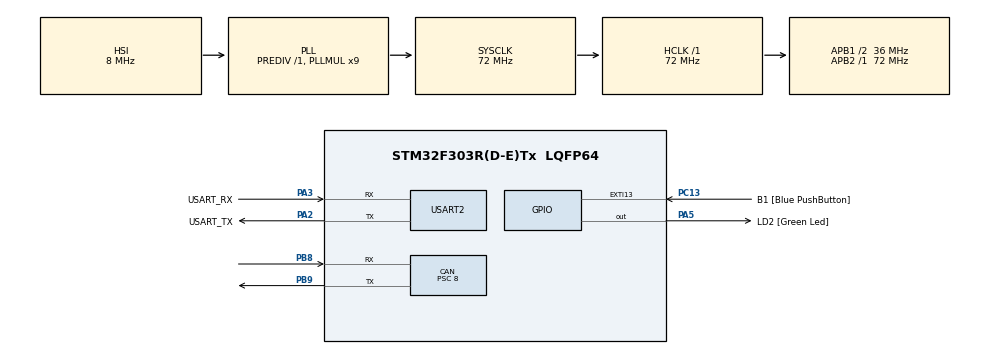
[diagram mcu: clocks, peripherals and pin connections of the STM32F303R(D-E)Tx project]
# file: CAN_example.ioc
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CAN.BS1=CAN_BS1_13TQ
CAN.BS2=CAN_BS2_4TQ
CAN.CalculateBaudRate=250000
CAN.CalculateTimeBit=4000
CAN.CalculateTimeQuantum=222.22222222222223
CAN.Mode=CAN_MODE_NORMAL
CAN.Prescaler=8
Mcu.Family=STM32F3
Mcu.Name=STM32F303R(D-E)Tx
Mcu.Package=LQFP64
NVIC.PriorityGroup=NVIC_PRIORITYGROUP_0
NVIC.USB_LP_CAN_RX0_IRQn=true\:0\:0\:false\:false\:true\:true\:true\:true
PA13.GPIO_Label=TMS
PA13.Mode=Serial_Wire
PA13.Signal=SYS_JTMS-SWDIO
PA14.GPIO_Label=TCK
PA14.Mode=Serial_Wire
PA14.Signal=SYS_JTCK-SWCLK
PA2.GPIO_Label=USART_TX
PA2.GPIO_Mode=GPIO_MODE_AF_PP
PA2.GPIO_PuPd=GPIO_NOPULL
PA2.GPIO_Speed=GPIO_SPEED_FREQ_LOW
PA2.Mode=Asynchronous
PA2.Signal=USART2_TX
PA3.GPIO_Label=USART_RX
PA3.GPIO_Mode=GPIO_MODE_AF_PP
PA3.GPIO_PuPd=GPIO_NOPULL
PA3.GPIO_Speed=GPIO_SPEED_FREQ_LOW
PA3.Mode=Asynchronous
PA3.Signal=USART2_RX
PA5.GPIO_Label=LD2 [Green Led]
PA5.GPIO_Mode=GPIO_MODE_OUTPUT_PP
PA5.GPIO_PuPd=GPIO_NOPULL
PA5.GPIO_Speed=GPIO_SPEED_FREQ_LOW
PA5.Signal=GPIO_Output
PB3.GPIO_Label=SWO
PB3.Signal=SYS_JTDO-TRACESWO
PB8.Mode=CAN_Activate
PB8.Signal=CAN_RX
PB9.Mode=CAN_Activate
PB9.Signal=CAN_TX
PC13.GPIO_Label=B1 [Blue PushButton]
PC13.GPIO_ModeDefaultEXTI=GPIO_MODE_IT_FALLING
PC13.Signal=GPXTI13
PC14-OSC32_IN.Mode=LSE-External-Oscillator
PC14-OSC32_IN.Signal=RCC_OSC32_IN
PC15-OSC32_OUT.Mode=LSE-External-Oscillator
PC15-OSC32_OUT.Signal=RCC_OSC32_OUT
PF0-OSC_IN.Mode=HSE-External-Clock-Source
PF0-OSC_IN.Signal=RCC_OSC_IN
PF1-OSC_OUT.Signal=RCC_OSC_OUT
ProjectManager.HeapSize=0x200
ProjectManager.StackSize=0x400
ProjectManager.TargetToolchain=STM32CubeIDE
RCC.AHBFreq_Value=72000000
RCC.APB1CLKDivider=RCC_HCLK_DIV2
RCC.APB1Freq_Value=36000000
RCC.APB1TimFreq_Value=72000000
RCC.APB2Freq_Value=72000000
RCC.APB2TimFreq_Value=72000000
RCC.CortexFreq_Value=72000000
RCC.HCLKFreq_Value=72000000
RCC.HSE_VALUE=8000000
RCC.HSI_VALUE=8000000
RCC.PLLM=8
RCC.PLLMUL=RCC_PLL_MUL9
RCC.PLLN=336
RCC.PLLP=RCC_PLLP_DIV4
RCC.PLLQ=7
RCC.RCC_PLLsource_Clock_Source_FROM_HSE=RCC_HSE_PREDIV_DIV2
RCC.SYSCLKFreq_VALUE=72000000
RCC.SYSCLKSourceVirtual=RCC_SYSCLKSOURCE_PLLCLK
RCC.USBFreq_Value=72000000
USART2.VirtualMode-Asynchronous=VM_ASYNC
board=NUCLEO-F303RE

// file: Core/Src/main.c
/* USER CODE BEGIN Header */
/**
  ******************************************************************************
  * @file           : main.c
  * @brief          : Main program body
  ******************************************************************************
  * @attention
  *
  * Copyright (c) 2026 STMicroelectronics.
  * All rights reserved.
  *
  * This software is licensed under terms that can be found in the LICENSE file
  * in the root directory of this software component.
  * If no LICENSE file comes with this software, it is provided AS-IS.
  *
  ******************************************************************************
  */
/* USER CODE END Header */
#include "main.h"

CAN_HandleTypeDef hcan;

UART_HandleTypeDef huart2;

void SystemClock_Config(void);
static void MX_GPIO_Init(void);
static void MX_USART2_UART_Init(void);
static void MX_CAN_Init(void);

/* USER CODE BEGIN 0 */
void CAN_Send(uint8_t *data)
{
    CAN_TxHeaderTypeDef txHeader = {0};

    uint32_t txMailbox;

    txHeader.StdId = 0x100;
    txHeader.ExtId = 0;
    txHeader.IDE = CAN_ID_STD;
    txHeader.RTR = CAN_RTR_DATA;
    txHeader.DLC = 8;
    txHeader.TransmitGlobalTime = DISABLE;

    HAL_CAN_AddTxMessage(
        &hcan,
        &txHeader,
        data,
        &txMailbox
    );
}

void HAL_CAN_RxFifo0MsgPendingCallback(CAN_HandleTypeDef *hcan)
{
    CAN_RxHeaderTypeDef rxHeader;
    uint8_t rxData[8];

    if (HAL_CAN_GetRxMessage(
        hcan,
        CAN_RX_FIFO0,
        &rxHeader,
        rxData
    ) == HAL_OK)
    {
        if (rxHeader.StdId == 0x200)
        {
            HAL_GPIO_TogglePin(LD2_GPIO_Port, LD2_Pin);
        }
    }
}
/* USER CODE END 0 */

int main(void)
{

  /* MCU Configuration--------------------------------------------------------*/

  /* Reset of all peripherals, Initializes the Flash interface and the Systick. */
  HAL_Init();

  /* Configure the system clock */
  SystemClock_Config();

  /* Initialize all configured peripherals */
  MX_GPIO_Init();
  MX_USART2_UART_Init();
  MX_CAN_Init();
  /* USER CODE BEGIN 2 */

  CAN_FilterTypeDef filter = {0};

  filter.FilterBank = 0;
  filter.FilterMode = CAN_FILTERMODE_IDMASK;
  filter.FilterScale = CAN_FILTERSCALE_32BIT;

  filter.FilterIdHigh = 0x0000;
  filter.FilterIdLow = 0x0000;

  filter.FilterMaskIdHigh = 0x0000;
  filter.FilterMaskIdLow = 0x0000;

  filter.FilterFIFOAssignment = CAN_FILTER_FIFO0;
  filter.FilterActivation = ENABLE;

  filter.SlaveStartFilterBank = 14;

  HAL_CAN_ConfigFilter(&hcan, &filter);

  HAL_CAN_Start(&hcan);

  HAL_CAN_ActivateNotification(
	  &hcan,
	  CAN_IT_RX_FIFO0_MSG_PENDING
  );
  /* USER CODE END 2 */

  /* Infinite loop */
  while (1)
  {

    /* USER CODE BEGIN 3 */
	  uint8_t txData[8] = {
	  		  1, 2, 3, 4, 5, 6, 7, 8
	  	  };

	  	  CAN_Send(txData);
	  	  HAL_Delay(10);
  }
  /* USER CODE END 3 */
}

void SystemClock_Config(void)
{
  RCC_OscInitTypeDef RCC_OscInitStruct = {0};
  RCC_ClkInitTypeDef RCC_ClkInitStruct = {0};
  RCC_PeriphCLKInitTypeDef PeriphClkInit = {0};

  /** Initializes the RCC Oscillators according to the specified parameters
  * in the RCC_OscInitTypeDef structure.
  */
  RCC_OscInitStruct.OscillatorType = RCC_OSCILLATORTYPE_HSI;
  RCC_OscInitStruct.HSIState = RCC_HSI_ON;
  RCC_OscInitStruct.HSICalibrationValue = RCC_HSICALIBRATION_DEFAULT;
  RCC_OscInitStruct.PLL.PLLState = RCC_PLL_ON;
  RCC_OscInitStruct.PLL.PLLSource = RCC_PLLSOURCE_HSI;
  RCC_OscInitStruct.PLL.PLLMUL = RCC_PLL_MUL9;
  RCC_OscInitStruct.PLL.PREDIV = RCC_PREDIV_DIV1;
  if (HAL_RCC_OscConfig(&RCC_OscInitStruct) != HAL_OK)
  {
    Error_Handler();
  }

  /** Initializes the CPU, AHB and APB buses clocks
  */
  RCC_ClkInitStruct.ClockType = RCC_CLOCKTYPE_HCLK|RCC_CLOCKTYPE_SYSCLK
                              |RCC_CLOCKTYPE_PCLK1|RCC_CLOCKTYPE_PCLK2;
  RCC_ClkInitStruct.SYSCLKSource = RCC_SYSCLKSOURCE_PLLCLK;
  RCC_ClkInitStruct.AHBCLKDivider = RCC_SYSCLK_DIV1;
  RCC_ClkInitStruct.APB1CLKDivider = RCC_HCLK_DIV2;
  RCC_ClkInitStruct.APB2CLKDivider = RCC_HCLK_DIV1;

  if (HAL_RCC_ClockConfig(&RCC_ClkInitStruct, FLASH_LATENCY_2) != HAL_OK)
  {
    Error_Handler();
  }
  PeriphClkInit.PeriphClockSelection = RCC_PERIPHCLK_USART2;
  PeriphClkInit.Usart2ClockSelection = RCC_USART2CLKSOURCE_PCLK1;
  if (HAL_RCCEx_PeriphCLKConfig(&PeriphClkInit) != HAL_OK)
  {
    Error_Handler();
  }
}

static void MX_CAN_Init(void)
{

  hcan.Instance = CAN;
  hcan.Init.Prescaler = 8;
  hcan.Init.Mode = CAN_MODE_NORMAL;
  hcan.Init.SyncJumpWidth = CAN_SJW_1TQ;
  hcan.Init.TimeSeg1 = CAN_BS1_13TQ;
  hcan.Init.TimeSeg2 = CAN_BS2_4TQ;
  hcan.Init.TimeTriggeredMode = DISABLE;
  hcan.Init.AutoBusOff = DISABLE;
  hcan.Init.AutoWakeUp = DISABLE;
  hcan.Init.AutoRetransmission = DISABLE;
  hcan.Init.ReceiveFifoLocked = DISABLE;
  hcan.Init.TransmitFifoPriority = DISABLE;
  if (HAL_CAN_Init(&hcan) != HAL_OK)
  {
    Error_Handler();
  }

}

static void MX_USART2_UART_Init(void)
{

  huart2.Instance = USART2;
  huart2.Init.BaudRate = 38400;
  huart2.Init.WordLength = UART_WORDLENGTH_8B;
  huart2.Init.StopBits = UART_STOPBITS_1;
  huart2.Init.Parity = UART_PARITY_NONE;
  huart2.Init.Mode = UART_MODE_TX_RX;
  huart2.Init.HwFlowCtl = UART_HWCONTROL_NONE;
  huart2.Init.OverSampling = UART_OVERSAMPLING_16;
  huart2.Init.OneBitSampling = UART_ONE_BIT_SAMPLE_DISABLE;
  huart2.AdvancedInit.AdvFeatureInit = UART_ADVFEATURE_NO_INIT;
  if (HAL_UART_Init(&huart2) != HAL_OK)
  {
    Error_Handler();
  }

}

static void MX_GPIO_Init(void)
{
  GPIO_InitTypeDef GPIO_InitStruct = {0};

  /* GPIO Ports Clock Enable */
  __HAL_RCC_GPIOC_CLK_ENABLE();
  __HAL_RCC_GPIOF_CLK_ENABLE();
  __HAL_RCC_GPIOA_CLK_ENABLE();
  __HAL_RCC_GPIOB_CLK_ENABLE();

  /*Configure GPIO pin Output Level */
  HAL_GPIO_WritePin(LD2_GPIO_Port, LD2_Pin, GPIO_PIN_RESET);

  /*Configure GPIO pin : B1_Pin */
  GPIO_InitStruct.Pin = B1_Pin;
  GPIO_InitStruct.Mode = GPIO_MODE_IT_FALLING;
  GPIO_InitStruct.Pull = GPIO_NOPULL;
  HAL_GPIO_Init(B1_GPIO_Port, &GPIO_InitStruct);

  /*Configure GPIO pin : LD2_Pin */
  GPIO_InitStruct.Pin = LD2_Pin;
  GPIO_InitStruct.Mode = GPIO_MODE_OUTPUT_PP;
  GPIO_InitStruct.Pull = GPIO_NOPULL;
  GPIO_InitStruct.Speed = GPIO_SPEED_FREQ_LOW;
  HAL_GPIO_Init(LD2_GPIO_Port, &GPIO_InitStruct);

}

void Error_Handler(void)
{
  __disable_irq();
  while (1)
  {
  }
}
